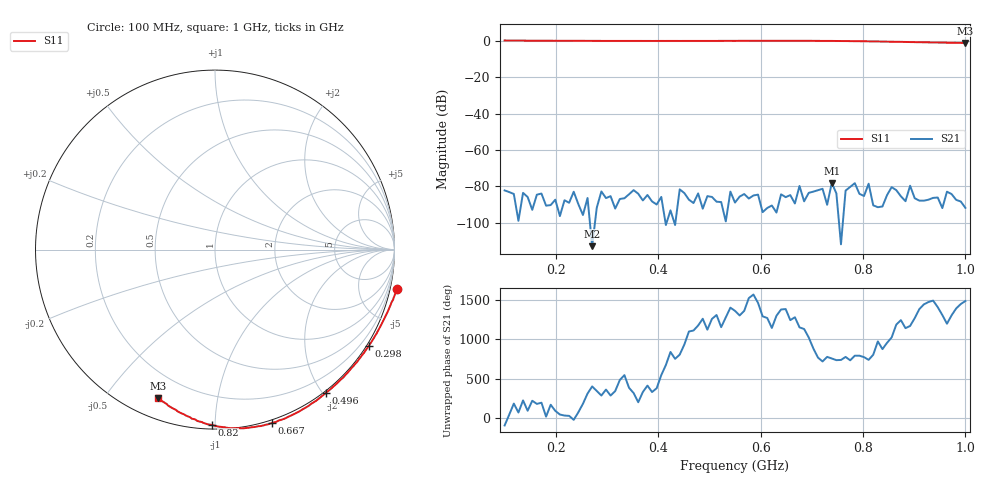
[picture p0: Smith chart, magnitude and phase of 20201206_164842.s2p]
# HZ S RI R 50
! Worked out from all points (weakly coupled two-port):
!   101 points, 100 MHz to 1 GHz, reference 50 ohm
!   highest |S21| = -78.07 dB at 739 MHz (marker M1); lowest = -112.9 dB at 271 MHz (marker M2)
!   lowest |S11| = -1.1 dB at 1 GHz (marker M3), VSWR 16.47, Z = 4.46 - j34.1 ohm
!   |S11| at or under -10 dB: nowhere
!   S12 and S22 are empty: the file has one direction only
!   S11 on the Smith chart (normalised r, x): 100 MHz: -1.64, -9.08; 298 MHz: -0.07, -3.49; 496 MHz: -0.02, -2.04; 667 MHz: -0.02, -1.38; 820 MHz: 0.02, -0.98; 1 GHz: 0.09, -0.68
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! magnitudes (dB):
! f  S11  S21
! 100 MHz  0.3  -82.2
! 253 MHz  0.1  -95.7
! 271 MHz  0.1  -112.9
! 298 MHz  0.1  -86.4
! 406 MHz  0.1  -85.8
! 496 MHz  0.1  -85.4
! 550 MHz  0.1  -88.9
! 667 MHz  0.1  -89.4
! 703 MHz  0.1  -82.9
! 730 MHz  0.1  -90.1
! 739 MHz  0.1  -78.1
! 748 MHz  0.0  -83.9
! 775 MHz  0.0  -80.3
! 784 MHz  -0.1  -78.2
! 793 MHz  -0.1  -84.1
! 802 MHz  -0.1  -85.3
! 811 MHz  -0.2  -78.5
! 820 MHz  -0.2  -90.4
! 856 MHz  -0.4  -80.4
! 892 MHz  -0.5  -79.6
! 901 MHz  -0.6  -86.5
! 1 GHz  -1.1  -91.8
